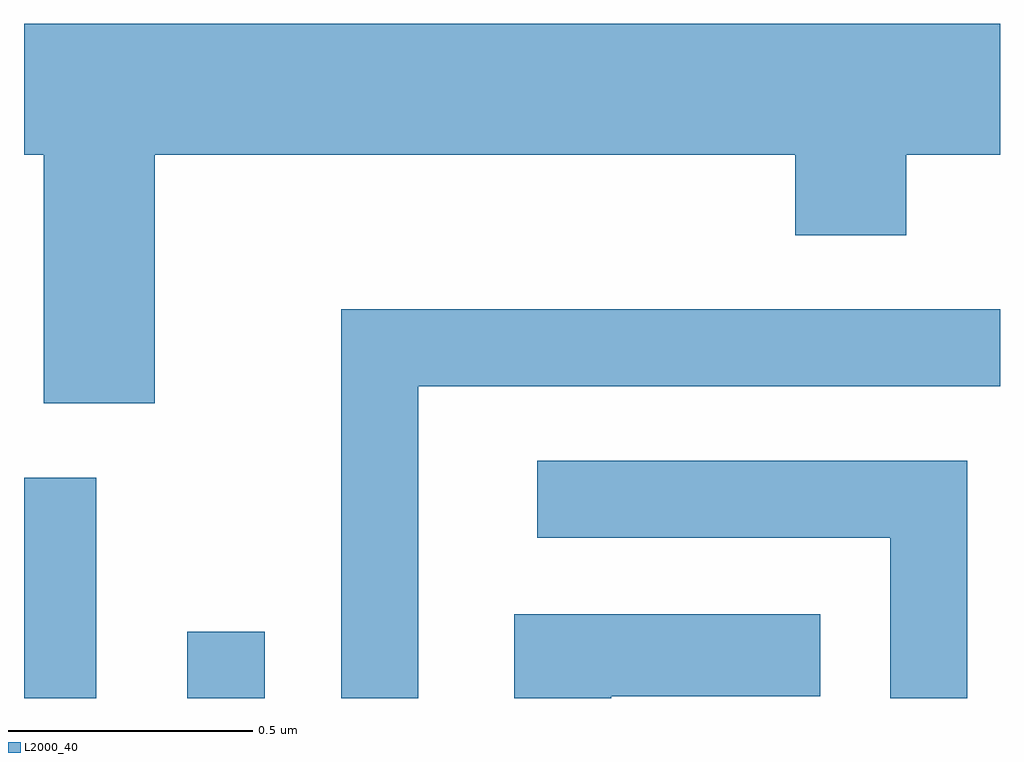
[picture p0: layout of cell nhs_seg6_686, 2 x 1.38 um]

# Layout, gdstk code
import gdstk
lib = gdstk.Library(unit=1e-6, precision=1e-09)
def R(c, l, rs):  # rectangles x0, y0, x1, y1
    for r in rs: c.add(gdstk.rectangle(r[:2], r[2:], *l))
def P(c, l, *ps):  # polygons
    for p in ps: c.add(gdstk.Polygon(p, *l))
L2000_40 = (2000, 40)

nhs_seg6_686 = lib.new_cell('nhs_seg6_686')
R(nhs_seg6_686, L2000_40, [(190.611,1531.162,190.759,1531.614), (190.946,1531.162,191.104,1531.298)])
P(nhs_seg6_686, L2000_40, [(190.879,1532.276),(192.191,1532.276),(192.191,1532.111),(192.419,1532.111),(192.419,1532.276),(192.611,1532.276),(192.611,1532.544),(190.611,1532.544),(190.611,1532.276),(190.651,1532.276),(190.651,1531.766),(190.879,1531.766)],
  [(191.419,1531.801),(192.611,1531.801),(192.611,1531.959),(191.261,1531.959),(191.261,1531.162),(191.419,1531.162)],
  [(192.544,1531.649),(191.663,1531.649),(191.663,1531.491),(192.386,1531.491),(192.386,1531.162),(192.544,1531.162)],
  [(191.814,1531.166),(192.243,1531.166),(192.243,1531.334),(191.616,1531.334),(191.616,1531.162),(191.814,1531.162)])

lib.write_gds('nhs_seg6_686.gds')
